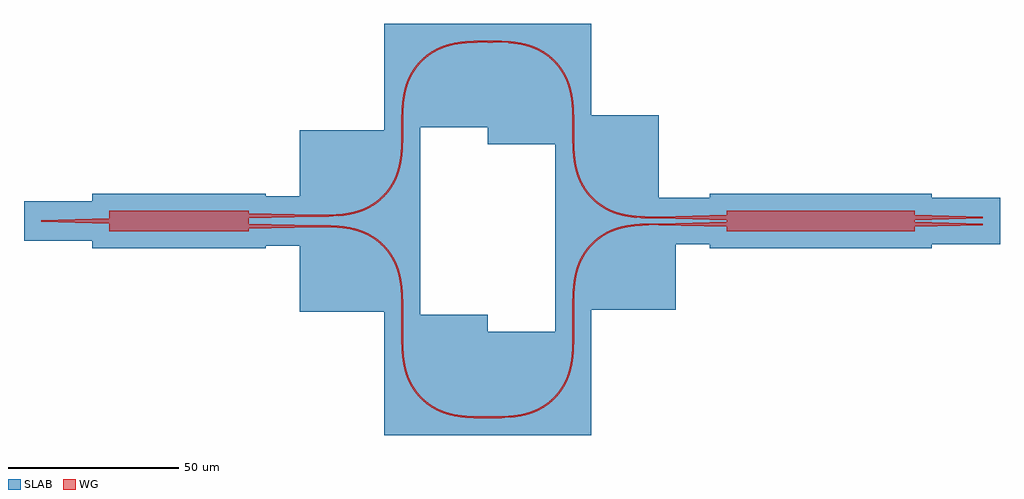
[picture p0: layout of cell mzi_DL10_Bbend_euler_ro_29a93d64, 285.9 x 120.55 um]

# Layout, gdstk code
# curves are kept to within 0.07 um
from math import pi, radians
import gdstk
lib = gdstk.Library(unit=1e-6, precision=1e-09)
def R(c, l, rs):  # rectangles x0, y0, x1, y1
    for r in rs: c.add(gdstk.rectangle(r[:2], r[2:], *l))
def P(c, l, *ps):  # polygons
    for p in ps: c.add(gdstk.Polygon(p, *l))
WG = (3, 0)
SLAB = (5, 0)

mmi1x2_wnone_wt1p5_lt20_ = lib.new_cell('mmi1x2_WNone_WT1p5_LT20_be07aaca')
P(mmi1x2_wnone_wt1p5_lt20_, WG, [(0,-3),(0,-0.75),(-20,-0.25),(-20,0.25),(0,0.75),(0,3),(40.8,3),(40.8,2.275),(60.8,1.775),(60.8,1.275),(40.8,0.775),(40.8,-0.775),(60.8,-1.275),(60.8,-1.775),(40.8,-2.275),(40.8,-3)])
P(mmi1x2_wnone_wt1p5_lt20_, SLAB, [(-5,-8),(-5,-5.75),(-25,-5.75),(-25,5.75),(-5,5.75),(-5,8),(45.8,8),(45.8,7.275),(65.8,7.275),(65.8,-7.275),(45.8,-7.275),(45.8,-8)])

bend_euler_rnone_a90_p0_ = lib.new_cell('bend_euler_RNone_A90_P0_3e63eab5')
P(bend_euler_rnone_a90_p0_, WG, [(0,-0.25),(0,0.25),(3.895,0.29),(6.967,0.482),(9.739,0.889),(12.059,1.482),(13.926,2.184),(15.829,3.168),(17.596,4.379),(19.202,5.798),(20.621,7.404),(21.832,9.171),(22.816,11.074),(23.518,12.941),(24.111,15.261),(24.518,18.033),(24.71,21.105),(24.75,25),(25.25,25),(25.205,20.954),(25.029,18.118),(24.678,15.564),(24.115,13.181),(23.329,10.999),(22.331,9.033),(21.015,7.096),(19.555,5.445),(17.904,3.985),(15.967,2.669),(14.001,1.671),(11.819,0.885),(9.436,0.322),(6.882,-0.029),(4.046,-0.205)])
R(bend_euler_rnone_a90_p0_, SLAB, [(-5,-5.25,30.25,25)])

straight_l1_csxs_ro = lib.new_cell('straight_L1_CSxs_ro')
R(straight_l1_csxs_ro, WG, [(0,-0.25,1,0.25)])
R(straight_l1_csxs_ro, SLAB, [(-5,-5.25,6,5.25)])

straight_l6_csxs_ro = lib.new_cell('straight_L6_CSxs_ro')
R(straight_l6_csxs_ro, WG, [(0,-0.25,6,0.25)])
R(straight_l6_csxs_ro, SLAB, [(-5,-5.25,11,5.25)])

straight_l0p1_csxs_ro = lib.new_cell('straight_L0p1_CSxs_ro')
R(straight_l0p1_csxs_ro, WG, [(0,-0.25,0.1,0.25)])
R(straight_l0p1_csxs_ro, SLAB, [(-5,-5.25,5.1,5.25)])

mmi2x2_wnone_wt1p5_lt20_ = lib.new_cell('mmi2x2_WNone_WT1p5_LT20_962ea31f')
P(mmi2x2_wnone_wt1p5_lt20_, WG, [(0,-3),(0,-1.765),(-20,-1.265),(-20,-0.765),(0,-0.265),(0,0.265),(-20,0.765),(-20,1.265),(0,1.765),(0,3),(55,3),(55,1.765),(75,1.265),(75,0.765),(55,0.265),(55,-0.265),(75,-0.765),(75,-1.265),(55,-1.765),(55,-3)])
P(mmi2x2_wnone_wt1p5_lt20_, SLAB, [(-5,-8),(-5,-6.765),(-25,-6.765),(-25,6.765),(-5,6.765),(-5,8),(60,8),(60,6.765),(80,6.765),(80,-6.765),(60,-6.765),(60,-8)])

straight_l1p51_csxs_ro = lib.new_cell('straight_L1p51_CSxs_ro')
R(straight_l1p51_csxs_ro, WG, [(0,-0.25,1.51,0.25)])
R(straight_l1p51_csxs_ro, SLAB, [(-5,-5.25,6.51,5.25)])

straight_l6p51_csxs_ro = lib.new_cell('straight_L6p51_CSxs_ro')
R(straight_l6p51_csxs_ro, WG, [(0,-0.25,6.51,0.25)])
R(straight_l6p51_csxs_ro, SLAB, [(-5,-5.25,11.51,5.25)])

mzi_dl10_bbend_euler_ro_ = lib.new_cell('mzi_DL10_Bbend_euler_ro_29a93d64')
mzi_dl10_bbend_euler_ro_.add(gdstk.Reference(mmi1x2_wnone_wt1p5_lt20_, (0,0)))
mzi_dl10_bbend_euler_ro_.add(gdstk.Reference(bend_euler_rnone_a90_p0_, (60.8,-1.525), x_reflection=True))
mzi_dl10_bbend_euler_ro_.add(gdstk.Reference(bend_euler_rnone_a90_p0_, (85.8,-32.525), rotation=3*pi/2))
mzi_dl10_bbend_euler_ro_.add(gdstk.Reference(bend_euler_rnone_a90_p0_, (60.8,1.525)))
mzi_dl10_bbend_euler_ro_.add(gdstk.Reference(bend_euler_rnone_a90_p0_, (110.8,52.525), rotation=pi))
mzi_dl10_bbend_euler_ro_.add(gdstk.Reference(bend_euler_rnone_a90_p0_, (135.9,27.525), rotation=pi/2))
mzi_dl10_bbend_euler_ro_.add(gdstk.Reference(bend_euler_rnone_a90_p0_, (135.9,26.015), rotation=3*pi/2))
mzi_dl10_bbend_euler_ro_.add(gdstk.Reference(bend_euler_rnone_a90_p0_, (110.9,-57.525)))
mzi_dl10_bbend_euler_ro_.add(gdstk.Reference(bend_euler_rnone_a90_p0_, (160.9,-1.015), rotation=pi))
mzi_dl10_bbend_euler_ro_.add(gdstk.Reference(straight_l1_csxs_ro, (85.8,26.525), rotation=pi/2))
mzi_dl10_bbend_euler_ro_.add(gdstk.Reference(straight_l6_csxs_ro, (85.8,-26.525), rotation=3*pi/2))
mzi_dl10_bbend_euler_ro_.add(gdstk.Reference(straight_l0p1_csxs_ro, (110.8,52.525)))
mzi_dl10_bbend_euler_ro_.add(gdstk.Reference(straight_l0p1_csxs_ro, (110.8,-57.525)))
mzi_dl10_bbend_euler_ro_.add(gdstk.Reference(mmi2x2_wnone_wt1p5_lt20_, (235.9,0), rotation=pi, x_reflection=True))
mzi_dl10_bbend_euler_ro_.add(gdstk.Reference(straight_l1p51_csxs_ro, (135.9,26.015), rotation=pi/2))
mzi_dl10_bbend_euler_ro_.add(gdstk.Reference(straight_l6p51_csxs_ro, (135.9,-32.525), rotation=pi/2))

lib.write_gds('mzi_DL10_Bbend_euler_ro_29a93d64.gds')
